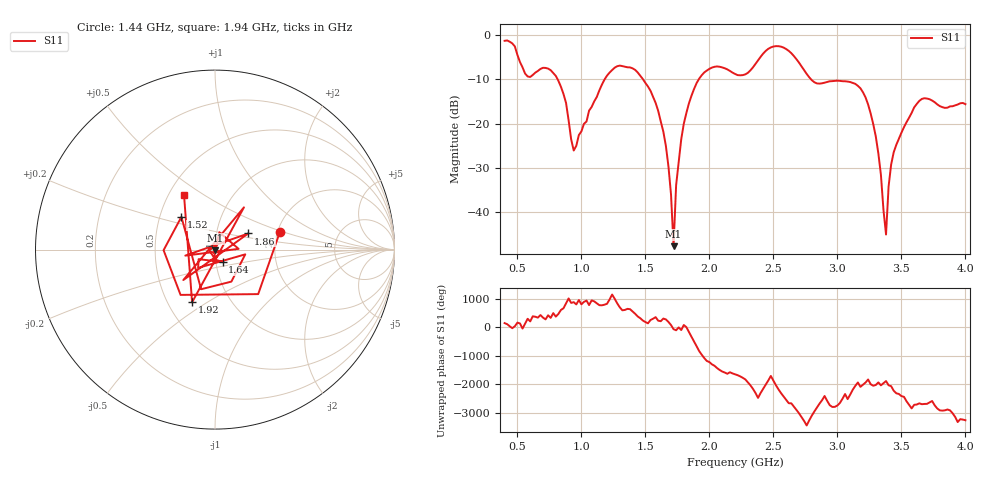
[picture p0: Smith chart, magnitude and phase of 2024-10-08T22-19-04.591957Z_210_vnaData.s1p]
! Created with skrf (http://scikit-rf.org).
# Hz S RI R 50.0
!freq ReS11 ImS11
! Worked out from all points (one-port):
!   181 points, 400 MHz to 4 GHz, reference 50 ohm
!   lowest |S11| = -47.6 dB at 1.72 GHz (marker M1), VSWR 1.01, Z = 50.1 - j0.392 ohm
!   |S11| at or under -10 dB: 813.4 MHz to 1.182 GHz (369 MHz wide, 37 % of centre); 1.481 GHz to 1.918 GHz (437.3 MHz wide, 25.7 % of centre); 2.793 GHz to end of sweep
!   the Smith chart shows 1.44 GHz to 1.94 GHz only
!   S11 on the Smith chart (normalised r, x): 1.44 GHz: 2.06, +0.48; 1.52 GHz: 0.65, +0.25; 1.64 GHz: 1.08, -0.15; 1.86 GHz: 1.42, +0.27; 1.92 GHz: 0.66, -0.43; 1.94 GHz: 0.60, +0.41
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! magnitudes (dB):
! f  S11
! 400 MHz  -1.4
! 580 MHz  -9.4
! 740 MHz  -7.6
! 860 MHz  -13.3
! 940 MHz  -26.1
! 1.3 GHz  -7.0
! 1.44 GHz  -8.5
! 1.52 GHz  -11.7
! 1.64 GHz  -21.8
! 1.7 GHz  -35.9
! 1.72 GHz  -47.6
! 1.74 GHz  -33.8
! 1.76 GHz  -28.6
! 1.86 GHz  -13.7
! 1.92 GHz  -9.9
! 1.94 GHz  -9.1
! 2.2 GHz  -8.8
! 2.5 GHz  -2.7
! 2.66 GHz  -4.8
! 2.84 GHz  -11.0
! 3.1 GHz  -10.6
! 3.28 GHz  -20.1
! 3.34 GHz  -31.5
! 3.38 GHz  -45.0
! 3.42 GHz  -29.2
! 3.56 GHz  -18.7
! 3.68 GHz  -14.3
! 4 GHz  -15.6
